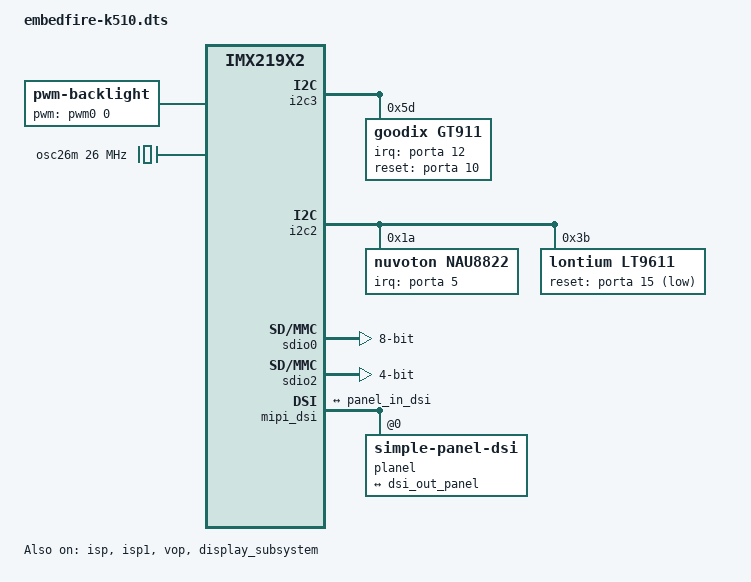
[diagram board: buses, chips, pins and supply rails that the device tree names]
/* Copyright (c) 2022, Canaan Bright Sight Co., Ltd
 *
 * This program is free software; you can redistribute it and/or modify
 * it under the terms of the GNU General Public License version 2 as
 * published by the Free Software Foundation.
*/
#include "k510_common/k510.dtsi"                    /* k510 soc top, include cpu/cache/memory/noc/axi/ahb/apb/sysctl etc. */
#include "k510_common/interrupt_provider.dtsi"      /* k510 soc interrupt controller */
#include "k510_common/interrupt_consumer.dtsi"      /* k510 soc and evb device interrupt consumer */
#include "k510_common/clock_provider.dtsi"          /* k510 soc clock tree */
#include "k510_common/clock_consumer.dtsi"          /* k510 soc and evb clock consumer */
#include "k510_common/reset_provider.dtsi"          /* k510 soc reset provider */
#include "k510_common/reset_consumer.dtsi"          /* k510 soc reset consumer */
#include "k510_common/power_provider.dtsi"          /* k510 soc power provider */
#include "k510_common/power_consumer.dtsi"          /* k510 soc power consumer */
#include "k510_common/dma_provider.dtsi"            /* k510 soc dma provider */
#include "k510_common/dma_consumer.dtsi"            /* k510 soc dma consumer */
#include "k510_common/gpio_provider.dtsi"           /* k510 soc gpio provider */
//#include "k510_common/gpio_consumer.dtsi"           /* k510 soc gpio consumer */
#include "k510_common/iomux_provider.dtsi"          /* k510 soc iomux provider */
#include "k510_common/iomux_consumer.dtsi"          /* k510 soc iomux consumer */
#include "k510_common/camera-imx219x2.dtsi"          /* camera imx219 */
//#include "k510_common/camera-gc2053_gc2093.dtsi"          /* camera gc2053/gc2093 */
//#include "k510_common/camera-gc2093_gc2053.dtsi"          /* camera gc2053/gc2093 */
//#include "k510_common/camera-gc2093_gc2145.dtsi"          /* camera gc2093/gc2145 */
//#include "k510_common/camera-gc2145_gc2093.dtsi"          /* camera gc2093/gc2145 */
//#include "k510_common/camera-sc035hgs.dtsi"          /* camera sc035hgs*/
//#include "k510_common/camera-imx385.dtsi"          /* camera imx385*/

#include <dt-bindings/display/drm_mipi_dsi.h>

/* evalution board device tree, include nandflash/emmc/ethphy/sensor/hdmi/pmic etc. */

/ {
    chosen {
        bootargs            = "root=/dev/nfs rw nfsroot=10.100.226.63:/home/yangguang/nfs_server/k510_nfsroot ip=10.100.226.221:10.100.226.63:10.100.226.254:255.255.255.0:k510:eth0:off console=ttyS0,115200n8 debug loglevel=7";
        stdout-path         = "uart0:115200n8";
    };
};

&ddr_memory {
    reg = <0x0 0x00000000 0x0 0xf000000>;  /*0~240M*/
};

/*DSP: 128M to 136M*/
    
&sharem {
    reg = <0x0 0xf000000 0x0 0x10000000>;  /*240M~496M*/
};

&serial0 {
    clock-frequency = <25000000>;
    reg-shift = <2>;
    reg-io-width = <4>;
    no-loopback-test = <1>;
};

&serial1 {
    clock-frequency = <25000000>;
    reg-shift = <2>;
    reg-io-width = <4>;
    no-loopback-test = <1>;
};


&iomux {
//    pinctrl-0 = <&uart0_pins &uart1_pins &mmc0_pins &mmc2_pins &pwm0_pins &pwm1_pins &i2c3_pins &i2s_pins &i2c2_pins &i2c1_pins &i2c4_pins &dvp_pins>;

    uart0_pins: iomux_uart0_pins {
        pinctrl-k510,pins = <
            (112) (FUNC_UART0_SIN)
            (113) (FUNC_UART0_SOUT)
        >;
    };
    uart1_pins: iomux_uart1_pins {
        pinctrl-k510,pins = <
            (114) (FUNC_UART1_SIN)
            (115) (FUNC_UART1_SOUT)
        >;
    };

    emac_rgmii_pins: iomux_emac_rgmii_pins {
        pinctrl-k510,pins = <
            (35) (FUNC_EMAC_MDC)
            (36) (FUNC_EMAC_MDIO)
            (29) (FUNC_EMAC_TX_CLK_OUT)
            (38) (FUNC_EMAC_TX_CTL)
            (46) (FUNC_EMAC_TX_D0)
            (45) (FUNC_EMAC_TX_D1)
            (44) (FUNC_EMAC_TX_D2)
            (43) (FUNC_EMAC_TX_D3)
            (30) (FUNC_EMAC_RX_CLK_IN)
            (37) (FUNC_EMAC_RX_CTL)
            (42) (FUNC_EMAC_RX_D0)
            (41) (FUNC_EMAC_RX_D1)
            (40) (FUNC_EMAC_RX_D2)
            (39) (FUNC_EMAC_RX_D3)
        >;
    };

    i2s_pins: iomux_i2s_pins {
        pinctrl-k510,pins = <
            (100)  (FUNC_AUDIO_INOUT_I2S_SCLK_GATE)
            (101)  (FUNC_AUDIO_INOUT_I2S_WS)
            (99) (FUNC_AUDIO_OUT0)
            (98) (FUNC_AUDIO_IN0)
        >;
    };

    /*MIPI_CSI_I2C_SCL, MIPI_CSI_I2C_SDA*/
    i2c1_pins: iomux_i2c1_pins {
        pinctrl-k510,pins = <
            (120) (FUNC_I2C1_SCLK)
            (121) (FUNC_I2C1_SDA)
        >;
    };

    spi0_pins: iomux_spi0_pins {
        pinctrl-k510,pins = <
          (86) (FUNC_SPI0_CLK)
          (87) (FUNC_SPI0_CS)
          (88) (FUNC_SPI0_D0)
          (89) (FUNC_SPI0_D1)
          (90) (FUNC_SPI0_D2)
          (91) (FUNC_SPI0_D3)
        >;
    };

    /*MIPI_DSI_I2C_SCL, MIPI_DSI_I2C_SDA*/
    i2c2_pins: iomux_i2c2_pins {
        pinctrl-k510,pins = <
            (103) (FUNC_I2C2_SCLK)
            (102) (FUNC_I2C2_SDA)
        >;
    };
    
    /*IIC_SDA, IIC_SCL*/
    i2c3_pins: iomux_i2c3_pins {
        pinctrl-k510,pins = <
            (116) (FUNC_I2C3_SDA)
            (117) (FUNC_I2C3_SCLK)
        >;
    };
    
    /*I2C_1V8_SCL1, I2C_1V8_SDA1 CSI*/
    i2c4_pins: iomux_i2c4_pins {
        pinctrl-k510,pins = <
            (48) (FUNC_I2C4_SDA)
            (47) (FUNC_I2C4_SCLK)
        >;
    };

    dvp_pins:iomux_dvp_pins{
        pinctrl-k510,pins = <
            (51) (FUNC_DVP_D4   )
            (52) (FUNC_DVP_D5   )
            (53) (FUNC_DVP_D6   )
            (54) (FUNC_DVP_D7   )
            (55) (FUNC_DVP_D8   )
            (56) (FUNC_DVP_D9   )
            (57) (FUNC_DVP_D10  )
            (58) (FUNC_DVP_D11  )
            (59) (FUNC_DVP_D12  )
            (60) (FUNC_DVP_D13  )
            (61) (FUNC_DVP_D14  )
            (62) (FUNC_DVP_D15  )
            (63) (FUNC_DVP_VSYNC)
            (64) (FUNC_DVP_HREF )
            (66) (FUNC_DVP_PCLK )
        >;
    };

    gpio_pins: iomux_gpio_pins {
        pinctrl-k510,pins = <

            (75) (FUNC_GPIO5) /*HP_INSERT_DET*/

            (105) (FUNC_GPIO10) /*TOUCH_RST*/
            (104) (FUNC_GPIO12) /*TOUCH_INT*/

            (32) (FUNC_GPIO15) /*RSTN*/
            (21) (FUNC_GPIO16) /*USB_OTG_EN*/

            (122) (FUNC_GPIO20) /*backlight*/
            (107) (FUNC_GPIO19) /*DSI_D_RST*/
        >;
    };

    pwm0_pins: iomux_pwm0_pins {
        pinctrl-k510,pins = <
            (126) (FUNC_PWM_PINS_1_IO_PINS_PWM_1_O_OVAL)  
        >;
    };

    pwm1_pins: iomux_pwm1_pins {
        pinctrl-k510,pins = <
            (127) (FUNC_PWM_PINS_1_IO_PINS_PWM_5_O_OVAL)    
        >;
    };

};

&pwm0 {
    pinctrl-names = "default";
    pinctrl-0 = <&pwm0_pins>;
    #pwm-cells = <3>;
};

&noc_bus {
    backlight: backlight {
        status = "okay";
        compatible = "pwm-backlight";
        pwms = <&pwm0 0 50000 0>;
        brightness-levels = <
                95  95  95  95  95  95  95  95
                95  95  95  95  95  95  95  95
                95  95  95  95  95  95  95  95
                95  95  95  95  95  95  95  95
                95  95  95  95  95  95  95  95
                95  95  95  95  95  95  95  95
                95  95  95  95  95  95  95  95
                95  95  95  95  95  95  95  95
                95  95  95  95  95  95  95  95
                95  95  95  95  95  95  95  95
                95  95  95  95  95  95  95  95
                88  89  90  91  92  93  94  95
                96  97  98  99 100 101 102 103
                104 105 106 107 108 109 110 111
                112 113 114 115 116 117 118 119
                120 121 122 123 124 125 126 127
                128 129 130 131 132 133 134 135
                136 137 138 139 140 141 142 143
                144 145 146 147 148 149 150 151
                152 153 154 155 156 157 158 159
                160 161 162 163 164 165 166 167
                168 169 170 171 172 173 174 175
                176 177 178 179 180 181 182 183
                184 185 186 187 188 189 190 191
                192 193 194 195 196 197 198 199
                200 201 202 203 204 205 206 207
                208 209 210 211 212 213 214 215
                216 217 218 219 220 221 222 223
                224 225 226 227 228 229 230 231
                232 233 234 235 236 237 238 239
                240 241 242 243 244 245 246 247
                248 249 250 251 252 253 254 255
        >;
        default-brightness-level = <200>;
    };
};

&serial0 {
    pinctrl-names = "default";
    pinctrl-0 = <&uart0_pins>;

};

&serial1 {
    pinctrl-names = "default";
    pinctrl-0 = <&uart1_pins>;
};

&emac {
    status = "disable";
    phy-mode = "rgmii";
    pinctrl-names = "default";
    pinctrl-0 = <&emac_rgmii_pins>;
};


&i2c0 {
    status = "disable";
};

&i2c1 {
    status = "disable";
    pinctrl-names = "default";
    pinctrl-0 = <&i2c1_pins>;
};

&i2c3 {
    status = "okay";
    #address-cells  = <1>;
    #size-cells     = <0>;
    pinctrl-names = "default";
    pinctrl-0 = <&i2c3_pins>;

    gt911: touchscreen@5d {
	compatible = "goodix,gt911";
	reg = <0x5d>;

	interrupt-parent = <&porta>;
    interrupts = <12 4>; /*IRQ_TYPE_LEVEL_HIGH*/
	irq-gpios = <&porta 12 GPIO_ACTIVE_HIGH>;
	reset-gpios = <&porta 10  GPIO_ACTIVE_HIGH>;

        touchscreen-size-x = <1080>;
        touchscreen-size-y = <1920>;

        goodix,cfg-group0 = [
	42 38 04 80 07 05 35 00 01 08
	28 08 50 32 03 05 00 00 00 00
	11 11 05 18 1A 1E 14 89 29 0C
	3D 3F 0C 08 00 00 00 2A 02 2C
	32 00 00 00 00 03 64 32 00 00
	00 2D 5A 94 D5 02 00 00 00 04
	8E 30 00 80 37 00 74 3F 00 69
	49 00 60 54 00 60 00 00 00 00
	00 00 00 00 00 00 00 00 00 00
	00 00 00 00 00 00 00 00 00 00
	00 00 00 00 00 00 00 00 00 00
	00 00 18 16 14 12 10 0E 0C 0A
	08 06 04 02 FF FF 00 00 00 00
	00 00 00 00 00 00 00 00 00 00
	00 00 00 02 04 06 08 0A 0F 10
	12 22 21 20 1F 1E 1D 1C 18 16
	FF FF FF FF FF FF FF FF 00 00
	00 00 00 00 00 00 00 00 00 00
	00 00 00 00 36 01
        ];
        status = "okay";
    };
};

&sysctl_boot {
    osc26m: osc26m {
        #clock-cells                            = <0>;
        compatible                              = "fixed-clock";
        clock-frequency                         = <26000000>;
        clock-accuracy                          = <0>;
    };
};

&i2c2 {
    status = "okay";
    #address-cells  = <1>;
    #size-cells     = <0>;
    pinctrl-names = "default";
    pinctrl-0 = <&i2c2_pins>;

    nau8822: nau8822@1a {
        compatible = "nuvoton,nau8822";
        reg = <0x1a>;
        clock-names = "mclk";
        clocks = <&osc26m>;
        interrupt-parent = <&porta>;
        interrupts = <5 2>;
    };

    lt9611: lt9611@3b {
        compatible = "lontium,lt9611";
        reg = <0x3b>;
        reset-gpios = <&porta 15 GPIO_ACTIVE_LOW>;
    };
};

&i2c4 {
    status = "disable";
    pinctrl-names = "default";
    pinctrl-0 = <&i2c4_pins>;
};

&i2c5 {
    status = "disable";
};

&i2c6 {
    status = "disable";
};

&sdio0 {
    status    = "okay";
    bus-width = <8>;

    pinctrl-names = "default";
    pinctrl-0 = <&mmc0_pins>;
};

&sdio2 {
    status    = "okay";                    
    bus-width = <4>;
    cap-sd-highspeed;
    cdns,phy-input-delay-legacy = <15>;
    cdns,phy-input-delay-sd-highspeed = <15>;

    pinctrl-names = "default";
    pinctrl-0 = <&mmc2_pins>;

};


&spis {
    status = "disable";
};

&porta {
    snps,nr-gpios = <32>;
};

&gpio {
    pinctrl-names = "default";
    pinctrl-0 = <&gpio_pins>;
};

&isp {
    status = "okay";
    compatible = "canaan,k510-isp";
    reg = <0x0 0x92600000 0x0 0x200000>;

    dsi_en-gpios = <&porta 20 GPIO_ACTIVE_HIGH>;
    dsi_rest-gpios = <&porta 19 GPIO_ACTIVE_LOW>;

    pinctrl-names = "default";
    pinctrl-0 = <&dvp_pins>;

};

&isp1 {
    status = "okay";
    compatible = "canaan,k510-isp1";
    reg = <0x0 0x92600000 0x0 0x200000>;

//    dsi_en-gpios = <&pca6416_0 14 GPIO_ACTIVE_HIGH>;
//    dsi_rest-gpios = <&pca6416_0 15 GPIO_ACTIVE_LOW>;

//    pinctrl-names = "default";
//    pinctrl-0 = <&dvp_pins>;

};

&mipi_dsi {
    planel@0 {
        compatible = "simple-panel-dsi";
        reg = <0>;

        // backlight = <&backlight>;

        pinctrl-names = "default";

        width-mm = <74>;
        height-mm = <133>;

        dsi,flags = <(MIPI_DSI_MODE_VIDEO | MIPI_DSI_MODE_VIDEO_BURST |
                              MIPI_DSI_MODE_LPM | MIPI_DSI_MODE_EOT_PACKET)>;
        dsi,format = <MIPI_DSI_FMT_RGB888>;
        dsi,lanes = <4>;

	    display-timings {
            native-mode = <&timing0>;
            timing0: timing0 {
                    clock-frequency = <74250000>;
                    hactive = <1080>;
                    vactive = <1920>;
                    hsync-len = <20>;
                    hfront-porch = <134>;
                    hback-porch = <20>;
                    vsync-len = <5>;
                    vfront-porch = <25>;
                    vback-porch = <8>;
                    hsync-active = <0>;
                    vsync-active = <0>;
                    de-active = <0>;
                    pixelclk-active = <0>;
            };

    };

        ports {
            #address-cells = <1>;
            #size-cells = <0>;

            port@0 {
                reg = <0>;
                panel_in_dsi: endpoint {
                        remote-endpoint = <&dsi_out_panel>;
                };
            };
        };

    };

    ports {
        #address-cells = <1>;
        #size-cells = <0>;

        port@1 {
                reg = <1>;
                dsi_out_panel: endpoint {
                        remote-endpoint = <&panel_in_dsi>;
                };
        };
    };

};

&vop {
    status    = "okay";

};

&display_subsystem {

   status = "okay";
};

&gnne {
    compatible = "k510-gnne";
    reg = <0x0 0x94180000 0x0 0x80000>;
};

&h264 {
    compatible = "al,al5r";
    reg = <0x0 0x92740000 0x0 0x10000>;
};

&dsp {
    compatible = "k510-dsp";
    sysctl-phy-addr = <0x97000000>;
};

&usb {
    reg = <0x0 0x93060000 0x0 0x10000>;
    otg_power_supply-gpios = <&porta 16 GPIO_ACTIVE_HIGH>;
};

&i2s {
    pinctrl-names = "default";
    pinctrl-0 = <&i2s_pins>;

};

/{
    sound {
        compatible = "canaan,canaan-audio-nau8822";
        canaan,model = "CANAAN-I2S";
        canaan,i2s-controller = <&i2s>;
        canaan,audio-codec = <&nau8822>;
    };
};

&mailbox {
    #mbox-cells = <1>;
};

/* 
 * mboxes = <&mailbox channel_number tx/rx>
 *          channel_number: 0-15
 *          rx: 0-7
 *          tx: 8-15
 */
&manage_subsys {
    mailbox_client: mailbox_client@0 {
        compatible = "mailbox-client";
        mboxes =    <&mailbox 0>, <&mailbox 1>, <&mailbox 2>, <&mailbox 3>,
                    <&mailbox 4>, <&mailbox 5>, <&mailbox 6>, <&mailbox 7>,
                    <&mailbox 8>, <&mailbox 9>, <&mailbox 10>, <&mailbox 11>,
                    <&mailbox 12>, <&mailbox 13>, <&mailbox 14>, <&mailbox 15>;
        mbox-names = "tx_chan_0", "tx_chan_1", "tx_chan_2", "tx_chan_3", 
                    "tx_chan_4", "tx_chan_5", "tx_chan_6", "tx_chan_7", 
                    "rx_chan_0", "rx_chan_1", "rx_chan_2", "rx_chan_3", 
                    "rx_chan_4", "rx_chan_5", "rx_chan_6", "rx_chan_7";                    
        reg =   <0x1 0x087ffe00 0x0 0x20>, /* cpu2dsp channel 0 */
                <0x1 0x087ffe20 0x0 0x20>, /* cpu2dsp channel 1 */
                <0x1 0x087ffe40 0x0 0x20>, /* cpu2dsp channel 2 */
                <0x1 0x087ffe60 0x0 0x20>, /* cpu2dsp channel 3 */
                <0x1 0x087ffe80 0x0 0x20>, /* cpu2dsp channel 4 */
                <0x1 0x087ffea0 0x0 0x20>, /* cpu2dsp channel 5 */
                <0x1 0x087ffec0 0x0 0x20>, /* cpu2dsp channel 6 */
                <0x1 0x087ffee0 0x0 0x20>, /* cpu2dsp channel 7 */

                <0x1 0x087fff00 0x0 0x20>, /* dsp2cpu channel 0 */
                <0x1 0x087fff20 0x0 0x20>, /* dsp2cpu channel 1 */
                <0x1 0x087fff40 0x0 0x20>, /* dsp2cpu channel 2 */
                <0x1 0x087fff60 0x0 0x20>, /* dsp2cpu channel 3 */
                <0x1 0x087fff80 0x0 0x20>, /* dsp2cpu channel 4 */
                <0x1 0x087fffa0 0x0 0x20>, /* dsp2cpu channel 5 */
                <0x1 0x087fffc0 0x0 0x20>, /* dsp2cpu channel 6 */
                <0x1 0x087fffe0 0x0 0x20>; /* dsp2cpu channel 7 */
    };
};
